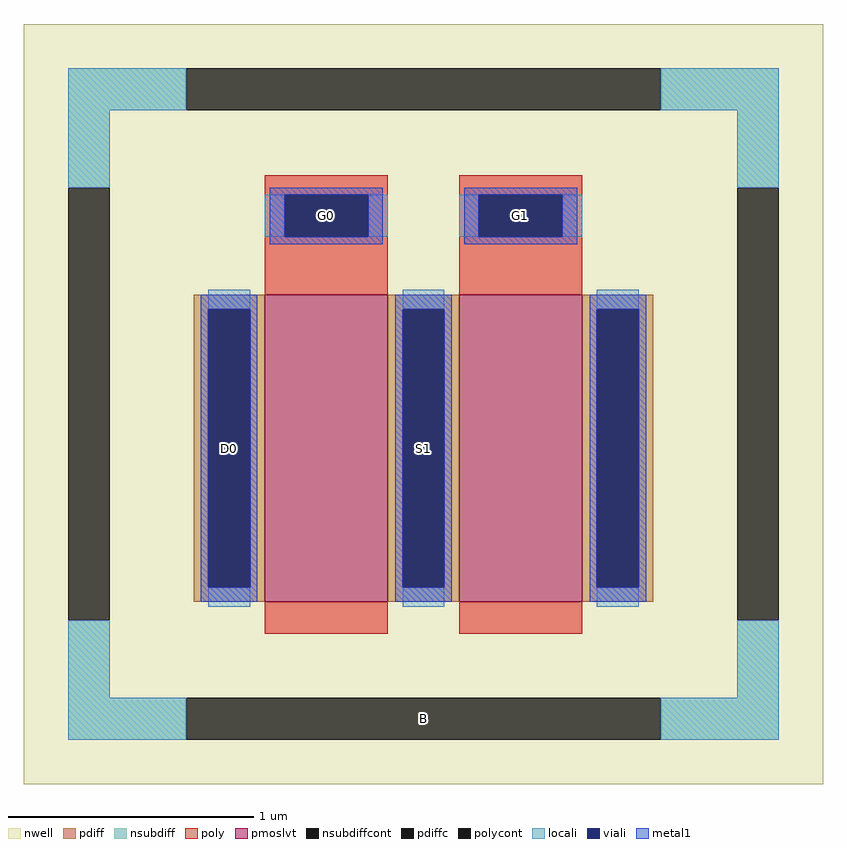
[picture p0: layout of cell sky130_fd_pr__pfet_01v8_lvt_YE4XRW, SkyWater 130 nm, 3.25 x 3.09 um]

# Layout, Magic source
magic
tech sky130A
magscale 1 2
<< nwell >>
rect -325 -309 325 309
<< pmoslvt >>
rect -129 -161 -29 89
rect 29 -161 129 89
<< pdiff >>
rect -187 77 -129 89
rect -187 -149 -175 77
rect -141 -149 -129 77
rect -187 -161 -129 -149
rect -29 77 29 89
rect -29 -149 -17 77
rect 17 -149 29 77
rect -29 -161 29 -149
rect 129 77 187 89
rect 129 -149 141 77
rect 175 -149 187 77
rect 129 -161 187 -149
<< pdiffc >>
rect -175 -149 -141 77
rect -17 -149 17 77
rect 141 -149 175 77
<< nsubdiff >>
rect -289 239 -193 273
rect 193 239 289 273
rect -289 176 -255 239
rect 255 176 289 239
rect -289 -239 -255 -176
rect 255 -239 289 -176
rect -289 -273 -193 -239
rect 193 -273 289 -239
<< nsubdiffcont >>
rect -193 239 193 273
rect -289 -176 -255 176
rect 255 -176 289 176
rect -193 -273 193 -239
<< poly >>
rect -129 170 -29 186
rect -129 136 -113 170
rect -45 136 -29 170
rect -129 89 -29 136
rect 29 170 129 186
rect 29 136 45 170
rect 113 136 129 170
rect 29 89 129 136
rect -129 -187 -29 -161
rect 29 -187 129 -161
<< polycont >>
rect -113 136 -45 170
rect 45 136 113 170
<< locali >>
rect -289 239 -193 273
rect 193 239 289 273
rect -289 176 -255 239
rect 255 176 289 239
rect -129 136 -113 170
rect -45 136 -29 170
rect 29 136 45 170
rect 113 136 129 170
rect -175 77 -141 93
rect -175 -165 -141 -149
rect -17 77 17 93
rect -17 -165 17 -149
rect 141 77 175 93
rect 141 -165 175 -149
rect -289 -239 -255 -176
rect 255 -239 289 -176
rect -289 -273 -193 -239
rect 193 -273 289 -239
<< viali >>
rect -113 136 -45 170
rect 45 136 113 170
rect -175 -149 -141 77
rect -17 -149 17 77
rect 141 -149 175 77
<< metal1 >>
rect -125 170 -33 176
rect -125 136 -113 170
rect -45 136 -33 170
rect -125 130 -33 136
rect 33 170 125 176
rect 33 136 45 170
rect 113 136 125 170
rect 33 130 125 136
rect -181 77 -135 89
rect -181 -149 -175 77
rect -141 -149 -135 77
rect -181 -161 -135 -149
rect -23 77 23 89
rect -23 -149 -17 77
rect 17 -149 23 77
rect -23 -161 23 -149
rect 135 77 181 89
rect 135 -149 141 77
rect 175 -149 181 77
rect 135 -161 181 -149
<< labels >>
rlabel nsubdiffcont 0 -256 0 -256 0 B
port 1 nsew
rlabel pdiffc -158 -36 -158 -36 0 D0
port 2 nsew
rlabel polycont -79 153 -79 153 0 G0
port 3 nsew
rlabel polycont 79 153 79 153 0 G1
port 5 nsew
rlabel pdiffc 0 -36 0 -36 0 S1
port 4 nsew
<< properties >>
string FIXED_BBOX -528 -256 272 256
string gencell sky130_fd_pr__pfet_01v8_lvt
string library sky130
string parameters w 1.25 l .5 m 1 nf 2 diffcov 100 polycov 100 guard 1 glc 1 grc 1 gtc 1 gbc 1 tbcov 100 rlcov 100 topc 1 botc 0 poverlap 0 doverlap 1 lmin 0.35 wmin 0.42 class mosfet compatible {sky130_fd_pr__pfet_01v8  sky130_fd_pr__pfet_01v8_lvt sky130_fd_pr__pfet_01v8_hvt  sky130_fd_pr__pfet_g5v0d10v5} full_metal 1 conn_gates 0 viasrc 100 viadrn 100 viagate 100 viagb 0 viagr 0 viagl 0 viagt 0 doports 1
<< end >>
